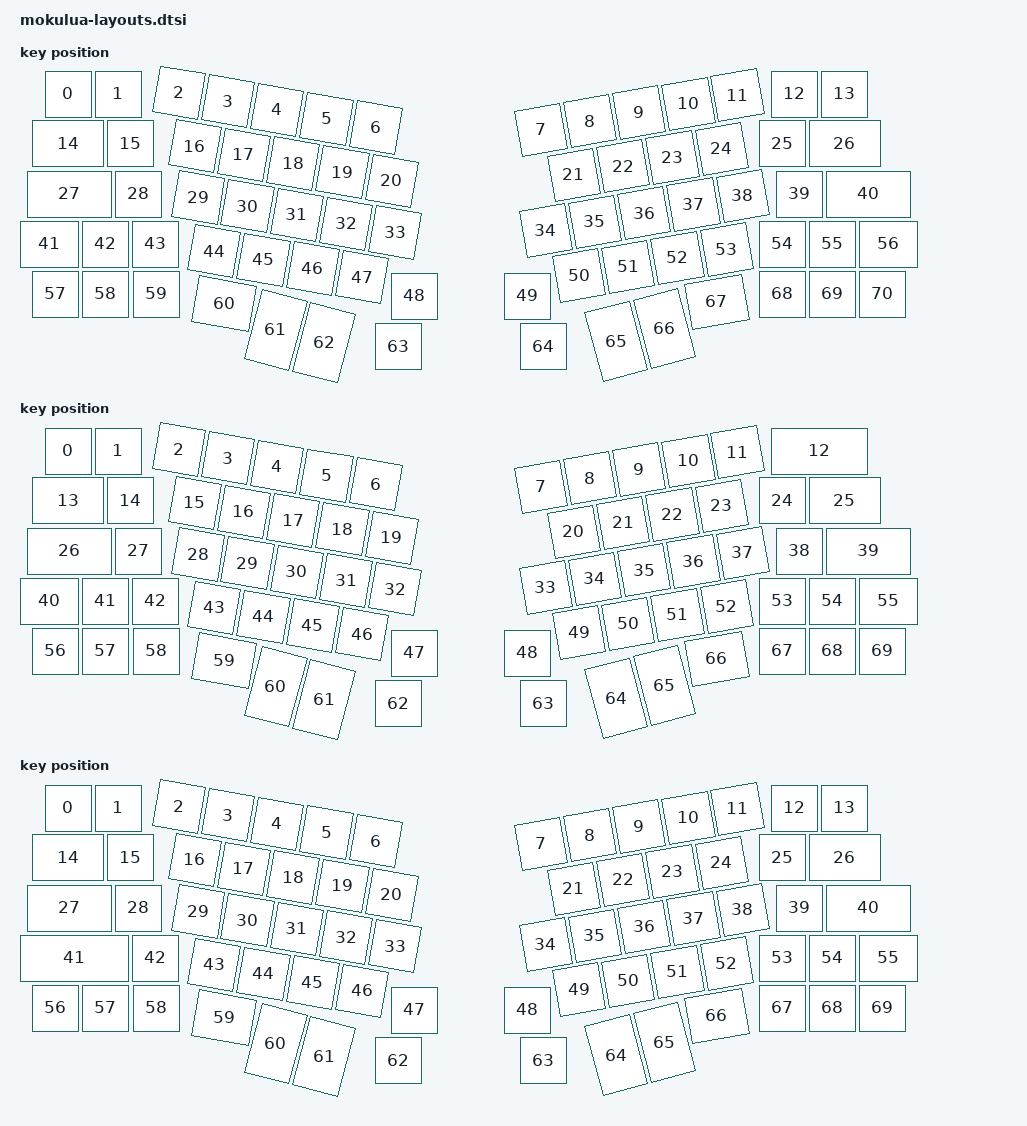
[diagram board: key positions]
/*
 * Copyright (c) 2023 The ZMK Contributors
 *
 * SPDX-License-Identifier: MIT
 */

#include <physical_layouts.dtsi>

/ {
    chosen {
        zmk,physical-layout = &standard_all_layout;
    };

    standard_all_layout: keymap_layout_0 {
        compatible = "zmk,physical-layout";
        display-name = "Standard - Split Backspace";

        transform = <&standard_all_transform>;

        keys  //                     w   h    x    y     rot   rx   ry
            = <&key_physical_attrs 100 100  322  105       0    0    0>
            , <&key_physical_attrs 100 100  422  105       0    0    0>
            , <&key_physical_attrs 100 100  500   50    1000  275  375>
            , <&key_physical_attrs 100 100  600   50    1000  275  375>
            , <&key_physical_attrs 100 100  700   50    1000  275  375>
            , <&key_physical_attrs 100 100  800   50    1000  275  375>
            , <&key_physical_attrs 100 100  900   50    1000  275  375>
            , <&key_physical_attrs 100 100 1300  200 (-1000) 1200  425>
            , <&key_physical_attrs 100 100 1400  200 (-1000) 1200  425>
            , <&key_physical_attrs 100 100 1500  200 (-1000) 1200  425>
            , <&key_physical_attrs 100 100 1600  200 (-1000) 1200  425>
            , <&key_physical_attrs 100 100 1700  200 (-1000) 1200  425>
            , <&key_physical_attrs 100 100 1775  105       0    0    0>
            , <&key_physical_attrs 100 100 1875  105       0    0    0>
            , <&key_physical_attrs 150 100  297  204       0    0    0>
            , <&key_physical_attrs 100 100  447  204       0    0    0>
            , <&key_physical_attrs 100 100  550  150    1000  275  375>
            , <&key_physical_attrs 100 100  650  150    1000  275  375>
            , <&key_physical_attrs 100 100  750  150    1000  275  375>
            , <&key_physical_attrs 100 100  850  150    1000  275  375>
            , <&key_physical_attrs 100 100  950  150    1000  275  375>
            , <&key_physical_attrs 100 100 1350  300 (-1000) 1200  425>
            , <&key_physical_attrs 100 100 1450  300 (-1000) 1200  425>
            , <&key_physical_attrs 100 100 1550  300 (-1000) 1200  425>
            , <&key_physical_attrs 100 100 1650  300 (-1000) 1200  425>
            , <&key_physical_attrs 100 100 1750  204       0    0    0>
            , <&key_physical_attrs 150 100 1850  204       0    0    0>
            , <&key_physical_attrs 175 100  287  305       0    0    0>
            , <&key_physical_attrs 100 100  462  305       0    0    0>
            , <&key_physical_attrs 100 100  575  250    1000  275  375>
            , <&key_physical_attrs 100 100  675  250    1000  275  375>
            , <&key_physical_attrs 100 100  775  250    1000  275  375>
            , <&key_physical_attrs 100 100  875  250    1000  275  375>
            , <&key_physical_attrs 100 100  975  250    1000  275  375>
            , <&key_physical_attrs 100 100 1275  400 (-1000) 1200  425>
            , <&key_physical_attrs 100 100 1375  400 (-1000) 1200  425>
            , <&key_physical_attrs 100 100 1475  400 (-1000) 1200  425>
            , <&key_physical_attrs 100 100 1575  400 (-1000) 1200  425>
            , <&key_physical_attrs 100 100 1675  400 (-1000) 1200  425>
            , <&key_physical_attrs 100 100 1785  305       0    0    0>
            , <&key_physical_attrs 175 100 1885  305       0    0    0>
            , <&key_physical_attrs 125 100  272  405       0    0    0>
            , <&key_physical_attrs 100 100  397  405       0    0    0>
            , <&key_physical_attrs 100 100  497  405       0    0    0>
            , <&key_physical_attrs 100 100  625  350    1000  275  375>
            , <&key_physical_attrs 100 100  725  350    1000  275  375>
            , <&key_physical_attrs 100 100  825  350    1000  275  375>
            , <&key_physical_attrs 100 100  925  350    1000  275  375>
            , <&key_physical_attrs 100 100 1015  509       0    0    0>
            , <&key_physical_attrs 100 100 1240  509       0    0    0>
            , <&key_physical_attrs 100 100 1325  500 (-1000) 1200  425>
            , <&key_physical_attrs 100 100 1425  500 (-1000) 1200  425>
            , <&key_physical_attrs 100 100 1525  500 (-1000) 1200  425>
            , <&key_physical_attrs 100 100 1625  500 (-1000) 1200  425>
            , <&key_physical_attrs 100 100 1750  405       0    0    0>
            , <&key_physical_attrs 100 100 1850  405       0    0    0>
            , <&key_physical_attrs 125 100 1950  405       0    0    0>
            , <&key_physical_attrs 100 100  297  505       0    0    0>
            , <&key_physical_attrs 100 100  397  505       0    0    0>
            , <&key_physical_attrs 100 100  498  505       0    0    0>
            , <&key_physical_attrs 125 100  650  450    1000  275  375>
            , <&key_physical_attrs 150 100   90  885 (-7500)  275  375>
            , <&key_physical_attrs 150 100   90  985 (-7500)  275  375>
            , <&key_physical_attrs 100 100  982  610       0    0    0>
            , <&key_physical_attrs 100 100 1273  610       0    0    0>
            , <&key_physical_attrs 150 100 1155  140    7500 1050  575>
            , <&key_physical_attrs 150 100 1155   40    7500 1050  575>
            , <&key_physical_attrs 125 100 1575  600 (-1000) 1200  425>
            , <&key_physical_attrs 100 100 1750  505       0    0    0>
            , <&key_physical_attrs 100 100 1850  505       0    0    0>
            , <&key_physical_attrs 100 100 1950  505       0    0    0>
            ;
    };

    standard_full_backspace_layout: keymap_layout_1 {
        compatible = "zmk,physical-layout";
        display-name = "Standard - Full Backspace";

        transform = <&standard_full_backspace_transform>;

        keys  //                     w   h    x    y     rot   rx   ry
            = <&key_physical_attrs 100 100  322  105       0    0    0>
            , <&key_physical_attrs 100 100  422  105       0    0    0>
            , <&key_physical_attrs 100 100  500   50    1000  275  375>
            , <&key_physical_attrs 100 100  600   50    1000  275  375>
            , <&key_physical_attrs 100 100  700   50    1000  275  375>
            , <&key_physical_attrs 100 100  800   50    1000  275  375>
            , <&key_physical_attrs 100 100  900   50    1000  275  375>
            , <&key_physical_attrs 100 100 1300  200 (-1000) 1200  425>
            , <&key_physical_attrs 100 100 1400  200 (-1000) 1200  425>
            , <&key_physical_attrs 100 100 1500  200 (-1000) 1200  425>
            , <&key_physical_attrs 100 100 1600  200 (-1000) 1200  425>
            , <&key_physical_attrs 100 100 1700  200 (-1000) 1200  425>
            , <&key_physical_attrs 200 100 1775  105       0    0    0>
            , <&key_physical_attrs 150 100  297  204       0    0    0>
            , <&key_physical_attrs 100 100  447  204       0    0    0>
            , <&key_physical_attrs 100 100  550  150    1000  275  375>
            , <&key_physical_attrs 100 100  650  150    1000  275  375>
            , <&key_physical_attrs 100 100  750  150    1000  275  375>
            , <&key_physical_attrs 100 100  850  150    1000  275  375>
            , <&key_physical_attrs 100 100  950  150    1000  275  375>
            , <&key_physical_attrs 100 100 1350  300 (-1000) 1200  425>
            , <&key_physical_attrs 100 100 1450  300 (-1000) 1200  425>
            , <&key_physical_attrs 100 100 1550  300 (-1000) 1200  425>
            , <&key_physical_attrs 100 100 1650  300 (-1000) 1200  425>
            , <&key_physical_attrs 100 100 1750  204       0    0    0>
            , <&key_physical_attrs 150 100 1850  204       0    0    0>
            , <&key_physical_attrs 175 100  287  305       0    0    0>
            , <&key_physical_attrs 100 100  462  305       0    0    0>
            , <&key_physical_attrs 100 100  575  250    1000  275  375>
            , <&key_physical_attrs 100 100  675  250    1000  275  375>
            , <&key_physical_attrs 100 100  775  250    1000  275  375>
            , <&key_physical_attrs 100 100  875  250    1000  275  375>
            , <&key_physical_attrs 100 100  975  250    1000  275  375>
            , <&key_physical_attrs 100 100 1275  400 (-1000) 1200  425>
            , <&key_physical_attrs 100 100 1375  400 (-1000) 1200  425>
            , <&key_physical_attrs 100 100 1475  400 (-1000) 1200  425>
            , <&key_physical_attrs 100 100 1575  400 (-1000) 1200  425>
            , <&key_physical_attrs 100 100 1675  400 (-1000) 1200  425>
            , <&key_physical_attrs 100 100 1785  305       0    0    0>
            , <&key_physical_attrs 175 100 1885  305       0    0    0>
            , <&key_physical_attrs 125 100  272  405       0    0    0>
            , <&key_physical_attrs 100 100  397  405       0    0    0>
            , <&key_physical_attrs 100 100  497  405       0    0    0>
            , <&key_physical_attrs 100 100  625  350    1000  275  375>
            , <&key_physical_attrs 100 100  725  350    1000  275  375>
            , <&key_physical_attrs 100 100  825  350    1000  275  375>
            , <&key_physical_attrs 100 100  925  350    1000  275  375>
            , <&key_physical_attrs 100 100 1015  509       0    0    0>
            , <&key_physical_attrs 100 100 1240  509       0    0    0>
            , <&key_physical_attrs 100 100 1325  500 (-1000) 1200  425>
            , <&key_physical_attrs 100 100 1425  500 (-1000) 1200  425>
            , <&key_physical_attrs 100 100 1525  500 (-1000) 1200  425>
            , <&key_physical_attrs 100 100 1625  500 (-1000) 1200  425>
            , <&key_physical_attrs 100 100 1750  405       0    0    0>
            , <&key_physical_attrs 100 100 1850  405       0    0    0>
            , <&key_physical_attrs 125 100 1950  405       0    0    0>
            , <&key_physical_attrs 100 100  297  505       0    0    0>
            , <&key_physical_attrs 100 100  397  505       0    0    0>
            , <&key_physical_attrs 100 100  498  505       0    0    0>
            , <&key_physical_attrs 125 100  650  450    1000  275  375>
            , <&key_physical_attrs 150 100   90  885 (-7500)  275  375>
            , <&key_physical_attrs 150 100   90  985 (-7500)  275  375>
            , <&key_physical_attrs 100 100  982  610       0    0    0>
            , <&key_physical_attrs 100 100 1273  610       0    0    0>
            , <&key_physical_attrs 150 100 1155  140    7500 1050  575>
            , <&key_physical_attrs 150 100 1155   40    7500 1050  575>
            , <&key_physical_attrs 125 100 1575  600 (-1000) 1200  425>
            , <&key_physical_attrs 100 100 1750  505       0    0    0>
            , <&key_physical_attrs 100 100 1850  505       0    0    0>
            , <&key_physical_attrs 100 100 1950  505       0    0    0>
            ;
    };

    standard_full_lshift_layout: keymap_layout_2 {
        compatible = "zmk,physical-layout";
        display-name = "Standard - Split Backspace/Full Left Shift";

        transform = <&standard_full_lshift_transform>;

        keys  //                     w   h    x    y     rot   rx   ry
            = <&key_physical_attrs 100 100  322  105       0    0    0>
            , <&key_physical_attrs 100 100  422  105       0    0    0>
            , <&key_physical_attrs 100 100  500   50    1000  275  375>
            , <&key_physical_attrs 100 100  600   50    1000  275  375>
            , <&key_physical_attrs 100 100  700   50    1000  275  375>
            , <&key_physical_attrs 100 100  800   50    1000  275  375>
            , <&key_physical_attrs 100 100  900   50    1000  275  375>
            , <&key_physical_attrs 100 100 1300  200 (-1000) 1200  425>
            , <&key_physical_attrs 100 100 1400  200 (-1000) 1200  425>
            , <&key_physical_attrs 100 100 1500  200 (-1000) 1200  425>
            , <&key_physical_attrs 100 100 1600  200 (-1000) 1200  425>
            , <&key_physical_attrs 100 100 1700  200 (-1000) 1200  425>
            , <&key_physical_attrs 100 100 1775  105       0    0    0>
            , <&key_physical_attrs 100 100 1875  105       0    0    0>
            , <&key_physical_attrs 150 100  297  204       0    0    0>
            , <&key_physical_attrs 100 100  447  204       0    0    0>
            , <&key_physical_attrs 100 100  550  150    1000  275  375>
            , <&key_physical_attrs 100 100  650  150    1000  275  375>
            , <&key_physical_attrs 100 100  750  150    1000  275  375>
            , <&key_physical_attrs 100 100  850  150    1000  275  375>
            , <&key_physical_attrs 100 100  950  150    1000  275  375>
            , <&key_physical_attrs 100 100 1350  300 (-1000) 1200  425>
            , <&key_physical_attrs 100 100 1450  300 (-1000) 1200  425>
            , <&key_physical_attrs 100 100 1550  300 (-1000) 1200  425>
            , <&key_physical_attrs 100 100 1650  300 (-1000) 1200  425>
            , <&key_physical_attrs 100 100 1750  204       0    0    0>
            , <&key_physical_attrs 150 100 1850  204       0    0    0>
            , <&key_physical_attrs 175 100  287  305       0    0    0>
            , <&key_physical_attrs 100 100  462  305       0    0    0>
            , <&key_physical_attrs 100 100  575  250    1000  275  375>
            , <&key_physical_attrs 100 100  675  250    1000  275  375>
            , <&key_physical_attrs 100 100  775  250    1000  275  375>
            , <&key_physical_attrs 100 100  875  250    1000  275  375>
            , <&key_physical_attrs 100 100  975  250    1000  275  375>
            , <&key_physical_attrs 100 100 1275  400 (-1000) 1200  425>
            , <&key_physical_attrs 100 100 1375  400 (-1000) 1200  425>
            , <&key_physical_attrs 100 100 1475  400 (-1000) 1200  425>
            , <&key_physical_attrs 100 100 1575  400 (-1000) 1200  425>
            , <&key_physical_attrs 100 100 1675  400 (-1000) 1200  425>
            , <&key_physical_attrs 100 100 1785  305       0    0    0>
            , <&key_physical_attrs 175 100 1885  305       0    0    0>
            , <&key_physical_attrs 225 100  272  405       0    0    0>
            , <&key_physical_attrs 100 100  497  405       0    0    0>
            , <&key_physical_attrs 100 100  625  350    1000  275  375>
            , <&key_physical_attrs 100 100  725  350    1000  275  375>
            , <&key_physical_attrs 100 100  825  350    1000  275  375>
            , <&key_physical_attrs 100 100  925  350    1000  275  375>
            , <&key_physical_attrs 100 100 1015  509       0    0    0>
            , <&key_physical_attrs 100 100 1240  509       0    0    0>
            , <&key_physical_attrs 100 100 1325  500 (-1000) 1200  425>
            , <&key_physical_attrs 100 100 1425  500 (-1000) 1200  425>
            , <&key_physical_attrs 100 100 1525  500 (-1000) 1200  425>
            , <&key_physical_attrs 100 100 1625  500 (-1000) 1200  425>
            , <&key_physical_attrs 100 100 1750  405       0    0    0>
            , <&key_physical_attrs 100 100 1850  405       0    0    0>
            , <&key_physical_attrs 125 100 1950  405       0    0    0>
            , <&key_physical_attrs 100 100  297  505       0    0    0>
            , <&key_physical_attrs 100 100  397  505       0    0    0>
            , <&key_physical_attrs 100 100  498  505       0    0    0>
            , <&key_physical_attrs 125 100  650  450    1000  275  375>
            , <&key_physical_attrs 150 100   90  885 (-7500)  275  375>
            , <&key_physical_attrs 150 100   90  985 (-7500)  275  375>
            , <&key_physical_attrs 100 100  982  610       0    0    0>
            , <&key_physical_attrs 100 100 1273  610       0    0    0>
            , <&key_physical_attrs 150 100 1155  140    7500 1050  575>
            , <&key_physical_attrs 150 100 1155   40    7500 1050  575>
            , <&key_physical_attrs 125 100 1575  600 (-1000) 1200  425>
            , <&key_physical_attrs 100 100 1750  505       0    0    0>
            , <&key_physical_attrs 100 100 1850  505       0    0    0>
            , <&key_physical_attrs 100 100 1950  505       0    0    0>
            ;
    };

    standard_full_rshift_layout: keymap_layout_3 {
        compatible = "zmk,physical-layout";
        display-name = "Standard - Split Backspace/Full Right Shift";

        transform = <&standard_full_rshift_transform>;

        keys  //                     w   h    x    y     rot   rx   ry
            = <&key_physical_attrs 100 100  322  105       0    0    0>
            , <&key_physical_attrs 100 100  422  105       0    0    0>
            , <&key_physical_attrs 100 100  500   50    1000  275  375>
            , <&key_physical_attrs 100 100  600   50    1000  275  375>
            , <&key_physical_attrs 100 100  700   50    1000  275  375>
            , <&key_physical_attrs 100 100  800   50    1000  275  375>
            , <&key_physical_attrs 100 100  900   50    1000  275  375>
            , <&key_physical_attrs 100 100 1300  200 (-1000) 1200  425>
            , <&key_physical_attrs 100 100 1400  200 (-1000) 1200  425>
            , <&key_physical_attrs 100 100 1500  200 (-1000) 1200  425>
            , <&key_physical_attrs 100 100 1600  200 (-1000) 1200  425>
            , <&key_physical_attrs 100 100 1700  200 (-1000) 1200  425>
            , <&key_physical_attrs 100 100 1775  105       0    0    0>
            , <&key_physical_attrs 100 100 1875  105       0    0    0>
            , <&key_physical_attrs 150 100  297  204       0    0    0>
            , <&key_physical_attrs 100 100  447  204       0    0    0>
            , <&key_physical_attrs 100 100  550  150    1000  275  375>
            , <&key_physical_attrs 100 100  650  150    1000  275  375>
            , <&key_physical_attrs 100 100  750  150    1000  275  375>
            , <&key_physical_attrs 100 100  850  150    1000  275  375>
            , <&key_physical_attrs 100 100  950  150    1000  275  375>
            , <&key_physical_attrs 100 100 1350  300 (-1000) 1200  425>
            , <&key_physical_attrs 100 100 1450  300 (-1000) 1200  425>
            , <&key_physical_attrs 100 100 1550  300 (-1000) 1200  425>
            , <&key_physical_attrs 100 100 1650  300 (-1000) 1200  425>
            , <&key_physical_attrs 100 100 1750  204       0    0    0>
            , <&key_physical_attrs 150 100 1850  204       0    0    0>
            , <&key_physical_attrs 175 100  287  305       0    0    0>
            , <&key_physical_attrs 100 100  462  305       0    0    0>
            , <&key_physical_attrs 100 100  575  250    1000  275  375>
            , <&key_physical_attrs 100 100  675  250    1000  275  375>
            , <&key_physical_attrs 100 100  775  250    1000  275  375>
            , <&key_physical_attrs 100 100  875  250    1000  275  375>
            , <&key_physical_attrs 100 100  975  250    1000  275  375>
            , <&key_physical_attrs 100 100 1275  400 (-1000) 1200  425>
            , <&key_physical_attrs 100 100 1375  400 (-1000) 1200  425>
            , <&key_physical_attrs 100 100 1475  400 (-1000) 1200  425>
            , <&key_physical_attrs 100 100 1575  400 (-1000) 1200  425>
            , <&key_physical_attrs 100 100 1675  400 (-1000) 1200  425>
            , <&key_physical_attrs 100 100 1785  305       0    0    0>
            , <&key_physical_attrs 175 100 1885  305       0    0    0>
            , <&key_physical_attrs 125 100  272  405       0    0    0>
            , <&key_physical_attrs 100 100  397  405       0    0    0>
            , <&key_physical_attrs 100 100  497  405       0    0    0>
            , <&key_physical_attrs 100 100  625  350    1000  275  375>
            , <&key_physical_attrs 100 100  725  350    1000  275  375>
            , <&key_physical_attrs 100 100  825  350    1000  275  375>
            , <&key_physical_attrs 100 100  925  350    1000  275  375>
            , <&key_physical_attrs 100 100 1015  509       0    0    0>
            , <&key_physical_attrs 100 100 1240  509       0    0    0>
            , <&key_physical_attrs 100 100 1325  500 (-1000) 1200  425>
            , <&key_physical_attrs 100 100 1425  500 (-1000) 1200  425>
            , <&key_physical_attrs 100 100 1525  500 (-1000) 1200  425>
            , <&key_physical_attrs 100 100 1625  500 (-1000) 1200  425>
            , <&key_physical_attrs 100 100 1750  405       0    0    0>
            , <&key_physical_attrs 225 100 1850  405       0    0    0>
            , <&key_physical_attrs 100 100  297  505       0    0    0>
            , <&key_physical_attrs 100 100  397  505       0    0    0>
            , <&key_physical_attrs 100 100  498  505       0    0    0>
            , <&key_physical_attrs 125 100  650  450    1000  275  375>
            , <&key_physical_attrs 150 100   90  885 (-7500)  275  375>
            , <&key_physical_attrs 150 100   90  985 (-7500)  275  375>
            , <&key_physical_attrs 100 100  982  610       0    0    0>
            , <&key_physical_attrs 100 100 1273  610       0    0    0>
            , <&key_physical_attrs 150 100 1155  140    7500 1050  575>
            , <&key_physical_attrs 150 100 1155   40    7500 1050  575>
            , <&key_physical_attrs 125 100 1575  600 (-1000) 1200  425>
            , <&key_physical_attrs 100 100 1750  505       0    0    0>
            , <&key_physical_attrs 100 100 1850  505       0    0    0>
            , <&key_physical_attrs 100 100 1950  505       0    0    0>
            ;
    };

    standard_full_backspace_full_lshift_layout: keymap_layout_4 {
        compatible = "zmk,physical-layout";
        display-name = "Standard - Full Backspace/Full Left Shift";

        transform = <&standard_full_backspace_full_lshift_transform>;

        keys  //                     w   h    x    y     rot   rx   ry
            = <&key_physical_attrs 100 100  322  105       0    0    0>
            , <&key_physical_attrs 100 100  422  105       0    0    0>
            , <&key_physical_attrs 100 100  500   50    1000  275  375>
            , <&key_physical_attrs 100 100  600   50    1000  275  375>
            , <&key_physical_attrs 100 100  700   50    1000  275  375>
            , <&key_physical_attrs 100 100  800   50    1000  275  375>
            , <&key_physical_attrs 100 100  900   50    1000  275  375>
            , <&key_physical_attrs 100 100 1300  200 (-1000) 1200  425>
            , <&key_physical_attrs 100 100 1400  200 (-1000) 1200  425>
            , <&key_physical_attrs 100 100 1500  200 (-1000) 1200  425>
            , <&key_physical_attrs 100 100 1600  200 (-1000) 1200  425>
            , <&key_physical_attrs 100 100 1700  200 (-1000) 1200  425>
            , <&key_physical_attrs 200 100 1775  105       0    0    0>
            , <&key_physical_attrs 150 100  297  204       0    0    0>
            , <&key_physical_attrs 100 100  447  204       0    0    0>
            , <&key_physical_attrs 100 100  550  150    1000  275  375>
            , <&key_physical_attrs 100 100  650  150    1000  275  375>
            , <&key_physical_attrs 100 100  750  150    1000  275  375>
            , <&key_physical_attrs 100 100  850  150    1000  275  375>
            , <&key_physical_attrs 100 100  950  150    1000  275  375>
            , <&key_physical_attrs 100 100 1350  300 (-1000) 1200  425>
            , <&key_physical_attrs 100 100 1450  300 (-1000) 1200  425>
            , <&key_physical_attrs 100 100 1550  300 (-1000) 1200  425>
            , <&key_physical_attrs 100 100 1650  300 (-1000) 1200  425>
            , <&key_physical_attrs 100 100 1750  204       0    0    0>
            , <&key_physical_attrs 150 100 1850  204       0    0    0>
            , <&key_physical_attrs 175 100  287  305       0    0    0>
            , <&key_physical_attrs 100 100  462  305       0    0    0>
            , <&key_physical_attrs 100 100  575  250    1000  275  375>
            , <&key_physical_attrs 100 100  675  250    1000  275  375>
            , <&key_physical_attrs 100 100  775  250    1000  275  375>
            , <&key_physical_attrs 100 100  875  250    1000  275  375>
            , <&key_physical_attrs 100 100  975  250    1000  275  375>
            , <&key_physical_attrs 100 100 1275  400 (-1000) 1200  425>
            , <&key_physical_attrs 100 100 1375  400 (-1000) 1200  425>
            , <&key_physical_attrs 100 100 1475  400 (-1000) 1200  425>
            , <&key_physical_attrs 100 100 1575  400 (-1000) 1200  425>
            , <&key_physical_attrs 100 100 1675  400 (-1000) 1200  425>
            , <&key_physical_attrs 100 100 1785  305       0    0    0>
            , <&key_physical_attrs 175 100 1885  305       0    0    0>
            , <&key_physical_attrs 225 100  272  405       0    0    0>
            , <&key_physical_attrs 100 100  497  405       0    0    0>
            , <&key_physical_attrs 100 100  625  350    1000  275  375>
            , <&key_physical_attrs 100 100  725  350    1000  275  375>
            , <&key_physical_attrs 100 100  825  350    1000  275  375>
            , <&key_physical_attrs 100 100  925  350    1000  275  375>
            , <&key_physical_attrs 100 100 1015  509       0    0    0>
            , <&key_physical_attrs 100 100 1240  509       0    0    0>
            , <&key_physical_attrs 100 100 1325  500 (-1000) 1200  425>
            , <&key_physical_attrs 100 100 1425  500 (-1000) 1200  425>
            , <&key_physical_attrs 100 100 1525  500 (-1000) 1200  425>
            , <&key_physical_attrs 100 100 1625  500 (-1000) 1200  425>
            , <&key_physical_attrs 100 100 1750  405       0    0    0>
            , <&key_physical_attrs 100 100 1850  405       0    0    0>
            , <&key_physical_attrs 125 100 1950  405       0    0    0>
            , <&key_physical_attrs 100 100  297  505       0    0    0>
            , <&key_physical_attrs 100 100  397  505       0    0    0>
            , <&key_physical_attrs 100 100  498  505       0    0    0>
            , <&key_physical_attrs 125 100  650  450    1000  275  375>
            , <&key_physical_attrs 150 100   90  885 (-7500)  275  375>
            , <&key_physical_attrs 150 100   90  985 (-7500)  275  375>
            , <&key_physical_attrs 100 100  982  610       0    0    0>
            , <&key_physical_attrs 100 100 1273  610       0    0    0>
            , <&key_physical_attrs 150 100 1155  140    7500 1050  575>
            , <&key_physical_attrs 150 100 1155   40    7500 1050  575>
            , <&key_physical_attrs 125 100 1575  600 (-1000) 1200  425>
            , <&key_physical_attrs 100 100 1750  505       0    0    0>
            , <&key_physical_attrs 100 100 1850  505       0    0    0>
            , <&key_physical_attrs 100 100 1950  505       0    0    0>
            ;
    };

    standard_full_backspace_full_rshift_layout: keymap_layout_5 {
        compatible = "zmk,physical-layout";
        display-name = "Standard - Full Backspace/Full Right Shift";

        transform = <&standard_full_backspace_full_rshift_transform>;

        keys  //                     w   h    x    y     rot   rx   ry
            = <&key_physical_attrs 100 100  322  105       0    0    0>
            , <&key_physical_attrs 100 100  422  105       0    0    0>
            , <&key_physical_attrs 100 100  500   50    1000  275  375>
            , <&key_physical_attrs 100 100  600   50    1000  275  375>
            , <&key_physical_attrs 100 100  700   50    1000  275  375>
            , <&key_physical_attrs 100 100  800   50    1000  275  375>
            , <&key_physical_attrs 100 100  900   50    1000  275  375>
            , <&key_physical_attrs 100 100 1300  200 (-1000) 1200  425>
            , <&key_physical_attrs 100 100 1400  200 (-1000) 1200  425>
            , <&key_physical_attrs 100 100 1500  200 (-1000) 1200  425>
            , <&key_physical_attrs 100 100 1600  200 (-1000) 1200  425>
            , <&key_physical_attrs 100 100 1700  200 (-1000) 1200  425>
            , <&key_physical_attrs 200 100 1775  105       0    0    0>
            , <&key_physical_attrs 150 100  297  204       0    0    0>
            , <&key_physical_attrs 100 100  447  204       0    0    0>
            , <&key_physical_attrs 100 100  550  150    1000  275  375>
            , <&key_physical_attrs 100 100  650  150    1000  275  375>
            , <&key_physical_attrs 100 100  750  150    1000  275  375>
            , <&key_physical_attrs 100 100  850  150    1000  275  375>
            , <&key_physical_attrs 100 100  950  150    1000  275  375>
            , <&key_physical_attrs 100 100 1350  300 (-1000) 1200  425>
            , <&key_physical_attrs 100 100 1450  300 (-1000) 1200  425>
            , <&key_physical_attrs 100 100 1550  300 (-1000) 1200  425>
            , <&key_physical_attrs 100 100 1650  300 (-1000) 1200  425>
            , <&key_physical_attrs 100 100 1750  204       0    0    0>
            , <&key_physical_attrs 150 100 1850  204       0    0    0>
            , <&key_physical_attrs 175 100  287  305       0    0    0>
            , <&key_physical_attrs 100 100  462  305       0    0    0>
            , <&key_physical_attrs 100 100  575  250    1000  275  375>
            , <&key_physical_attrs 100 100  675  250    1000  275  375>
            , <&key_physical_attrs 100 100  775  250    1000  275  375>
            , <&key_physical_attrs 100 100  875  250    1000  275  375>
            , <&key_physical_attrs 100 100  975  250    1000  275  375>
            , <&key_physical_attrs 100 100 1275  400 (-1000) 1200  425>
            , <&key_physical_attrs 100 100 1375  400 (-1000) 1200  425>
            , <&key_physical_attrs 100 100 1475  400 (-1000) 1200  425>
            , <&key_physical_attrs 100 100 1575  400 (-1000) 1200  425>
            , <&key_physical_attrs 100 100 1675  400 (-1000) 1200  425>
            , <&key_physical_attrs 100 100 1785  305       0    0    0>
            , <&key_physical_attrs 175 100 1885  305       0    0    0>
            , <&key_physical_attrs 125 100  272  405       0    0    0>
            , <&key_physical_attrs 100 100  397  405       0    0    0>
            , <&key_physical_attrs 100 100  497  405       0    0    0>
            , <&key_physical_attrs 100 100  625  350    1000  275  375>
            , <&key_physical_attrs 100 100  725  350    1000  275  375>
            , <&key_physical_attrs 100 100  825  350    1000  275  375>
            , <&key_physical_attrs 100 100  925  350    1000  275  375>
            , <&key_physical_attrs 100 100 1015  509       0    0    0>
            , <&key_physical_attrs 100 100 1240  509       0    0    0>
            , <&key_physical_attrs 100 100 1325  500 (-1000) 1200  425>
            , <&key_physical_attrs 100 100 1425  500 (-1000) 1200  425>
            , <&key_physical_attrs 100 100 1525  500 (-1000) 1200  425>
            , <&key_physical_attrs 100 100 1625  500 (-1000) 1200  425>
            , <&key_physical_attrs 100 100 1750  405       0    0    0>
            , <&key_physical_attrs 225 100 1850  405       0    0    0>
            , <&key_physical_attrs 100 100  297  505       0    0    0>
            , <&key_physical_attrs 100 100  397  505       0    0    0>
            , <&key_physical_attrs 100 100  498  505       0    0    0>
            , <&key_physical_attrs 125 100  650  450    1000  275  375>
            , <&key_physical_attrs 150 100   90  885 (-7500)  275  375>
            , <&key_physical_attrs 150 100   90  985 (-7500)  275  375>
            , <&key_physical_attrs 100 100  982  610       0    0    0>
            , <&key_physical_attrs 100 100 1273  610       0    0    0>
            , <&key_physical_attrs 150 100 1155  140    7500 1050  575>
            , <&key_physical_attrs 150 100 1155   40    7500 1050  575>
            , <&key_physical_attrs 125 100 1575  600 (-1000) 1200  425>
            , <&key_physical_attrs 100 100 1750  505       0    0    0>
            , <&key_physical_attrs 100 100 1850  505       0    0    0>
            , <&key_physical_attrs 100 100 1950  505       0    0    0>
            ;
    };

    standard_full_backspace_full_lshift_full_rshift_layout: keymap_layout_6 {
        compatible = "zmk,physical-layout";
        display-name = "Standard - Full Left Shift/Full Right Shift";

        transform = <&standard_full_backspace_full_lshift_full_rshift_transform>;

        keys  //                     w   h    x    y     rot   rx   ry
            = <&key_physical_attrs 100 100  322  105       0    0    0>
            , <&key_physical_attrs 100 100  422  105       0    0    0>
            , <&key_physical_attrs 100 100  500   50    1000  275  375>
            , <&key_physical_attrs 100 100  600   50    1000  275  375>
            , <&key_physical_attrs 100 100  700   50    1000  275  375>
            , <&key_physical_attrs 100 100  800   50    1000  275  375>
            , <&key_physical_attrs 100 100  900   50    1000  275  375>
            , <&key_physical_attrs 100 100 1300  200 (-1000) 1200  425>
            , <&key_physical_attrs 100 100 1400  200 (-1000) 1200  425>
            , <&key_physical_attrs 100 100 1500  200 (-1000) 1200  425>
            , <&key_physical_attrs 100 100 1600  200 (-1000) 1200  425>
            , <&key_physical_attrs 100 100 1700  200 (-1000) 1200  425>
            , <&key_physical_attrs 200 100 1775  105       0    0    0>
            , <&key_physical_attrs 150 100  297  204       0    0    0>
            , <&key_physical_attrs 100 100  447  204       0    0    0>
            , <&key_physical_attrs 100 100  550  150    1000  275  375>
            , <&key_physical_attrs 100 100  650  150    1000  275  375>
            , <&key_physical_attrs 100 100  750  150    1000  275  375>
            , <&key_physical_attrs 100 100  850  150    1000  275  375>
            , <&key_physical_attrs 100 100  950  150    1000  275  375>
            , <&key_physical_attrs 100 100 1350  300 (-1000) 1200  425>
            , <&key_physical_attrs 100 100 1450  300 (-1000) 1200  425>
            , <&key_physical_attrs 100 100 1550  300 (-1000) 1200  425>
            , <&key_physical_attrs 100 100 1650  300 (-1000) 1200  425>
            , <&key_physical_attrs 100 100 1750  204       0    0    0>
            , <&key_physical_attrs 150 100 1850  204       0    0    0>
            , <&key_physical_attrs 175 100  287  305       0    0    0>
            , <&key_physical_attrs 100 100  462  305       0    0    0>
            , <&key_physical_attrs 100 100  575  250    1000  275  375>
            , <&key_physical_attrs 100 100  675  250    1000  275  375>
            , <&key_physical_attrs 100 100  775  250    1000  275  375>
            , <&key_physical_attrs 100 100  875  250    1000  275  375>
            , <&key_physical_attrs 100 100  975  250    1000  275  375>
            , <&key_physical_attrs 100 100 1275  400 (-1000) 1200  425>
            , <&key_physical_attrs 100 100 1375  400 (-1000) 1200  425>
            , <&key_physical_attrs 100 100 1475  400 (-1000) 1200  425>
            , <&key_physical_attrs 100 100 1575  400 (-1000) 1200  425>
            , <&key_physical_attrs 100 100 1675  400 (-1000) 1200  425>
            , <&key_physical_attrs 100 100 1785  305       0    0    0>
            , <&key_physical_attrs 175 100 1885  305       0    0    0>
            , <&key_physical_attrs 225 100  272  405       0    0    0>
            , <&key_physical_attrs 100 100  497  405       0    0    0>
            , <&key_physical_attrs 100 100  625  350    1000  275  375>
            , <&key_physical_attrs 100 100  725  350    1000  275  375>
            , <&key_physical_attrs 100 100  825  350    1000  275  375>
            , <&key_physical_attrs 100 100  925  350    1000  275  375>
            , <&key_physical_attrs 100 100 1015  509       0    0    0>
            , <&key_physical_attrs 100 100 1240  509       0    0    0>
            , <&key_physical_attrs 100 100 1325  500 (-1000) 1200  425>
            , <&key_physical_attrs 100 100 1425  500 (-1000) 1200  425>
            , <&key_physical_attrs 100 100 1525  500 (-1000) 1200  425>
            , <&key_physical_attrs 100 100 1625  500 (-1000) 1200  425>
            , <&key_physical_attrs 100 100 1750  405       0    0    0>
            , <&key_physical_attrs 225 100 1850  405       0    0    0>
            , <&key_physical_attrs 100 100  297  505       0    0    0>
            , <&key_physical_attrs 100 100  397  505       0    0    0>
            , <&key_physical_attrs 100 100  498  505       0    0    0>
            , <&key_physical_attrs 125 100  650  450    1000  275  375>
            , <&key_physical_attrs 150 100   90  885 (-7500)  275  375>
            , <&key_physical_attrs 150 100   90  985 (-7500)  275  375>
            , <&key_physical_attrs 100 100  982  610       0    0    0>
            , <&key_physical_attrs 100 100 1273  610       0    0    0>
            , <&key_physical_attrs 150 100 1155  140    7500 1050  575>
            , <&key_physical_attrs 150 100 1155   40    7500 1050  575>
            , <&key_physical_attrs 125 100 1575  600 (-1000) 1200  425>
            , <&key_physical_attrs 100 100 1750  505       0    0    0>
            , <&key_physical_attrs 100 100 1850  505       0    0    0>
            , <&key_physical_attrs 100 100 1950  505       0    0    0>
            ;
    };

    mirrored_all_layout: keymap_layout_7 {
        compatible = "zmk,physical-layout";
        display-name = "Mirrored";

        transform = <&mirrored_all_transform>;

        keys  //                     w   h    x    y     rot   rx   ry
            = <&key_physical_attrs 100 100  322  105       0    0    0>
            , <&key_physical_attrs 100 100  422  105       0    0    0>
            , <&key_physical_attrs 100 100  500   50    1000  275  375>
            , <&key_physical_attrs 100 100  600   50    1000  275  375>
            , <&key_physical_attrs 100 100  700   50    1000  275  375>
            , <&key_physical_attrs 100 100  800   50    1000  275  375>
            , <&key_physical_attrs 100 100  900   50    1000  275  375>
            , <&key_physical_attrs 100 100 1355   50 (-1000) 2080  375>
            , <&key_physical_attrs 100 100 1455   50 (-1000) 2080  375>
            , <&key_physical_attrs 100 100 1555   50 (-1000) 2080  375>
            , <&key_physical_attrs 100 100 1655   50 (-1000) 2080  375>
            , <&key_physical_attrs 100 100 1755   50 (-1000) 2080  375>
            , <&key_physical_attrs 100 100 1832  105       0    0    0>
            , <&key_physical_attrs 100 100 1932  105       0    0    0>
            , <&key_physical_attrs 150 100  297  204       0    0    0>
            , <&key_physical_attrs 100 100  447  204       0    0    0>
            , <&key_physical_attrs 100 100  550  150    1000  275  375>
            , <&key_physical_attrs 100 100  650  150    1000  275  375>
            , <&key_physical_attrs 100 100  750  150    1000  275  375>
            , <&key_physical_attrs 100 100  850  150    1000  275  375>
            , <&key_physical_attrs 100 100  950  150    1000  275  375>
            , <&key_physical_attrs 100 100 1305  150 (-1000) 2080  375>
            , <&key_physical_attrs 100 100 1405  150 (-1000) 2080  375>
            , <&key_physical_attrs 100 100 1505  150 (-1000) 2080  375>
            , <&key_physical_attrs 100 100 1605  150 (-1000) 2080  375>
            , <&key_physical_attrs 100 100 1705  150 (-1000) 2080  375>
            , <&key_physical_attrs 100 100 1807  204       0    0    0>
            , <&key_physical_attrs 150 100 1907  204       0    0    0>
            , <&key_physical_attrs 175 100  287  305       0    0    0>
            , <&key_physical_attrs 100 100  462  305       0    0    0>
            , <&key_physical_attrs 100 100  575  250    1000  275  375>
            , <&key_physical_attrs 100 100  675  250    1000  275  375>
            , <&key_physical_attrs 100 100  775  250    1000  275  375>
            , <&key_physical_attrs 100 100  875  250    1000  275  375>
            , <&key_physical_attrs 100 100  975  250    1000  275  375>
            , <&key_physical_attrs 100 100 1280  250 (-1000) 2080  375>
            , <&key_physical_attrs 100 100 1380  250 (-1000) 2080  375>
            , <&key_physical_attrs 100 100 1480  250 (-1000) 2080  375>
            , <&key_physical_attrs 100 100 1580  250 (-1000) 2080  375>
            , <&key_physical_attrs 100 100 1680  250 (-1000) 2080  375>
            , <&key_physical_attrs 100 100 1793  305       0    0    0>
            , <&key_physical_attrs 175 100 1893  305       0    0    0>
            , <&key_physical_attrs 125 100  272  405       0    0    0>
            , <&key_physical_attrs 100 100  397  405       0    0    0>
            , <&key_physical_attrs 100 100  497  405       0    0    0>
            , <&key_physical_attrs 100 100  625  350    1000  275  375>
            , <&key_physical_attrs 100 100  725  350    1000  275  375>
            , <&key_physical_attrs 100 100  825  350    1000  275  375>
            , <&key_physical_attrs 100 100  925  350    1000  275  375>
            , <&key_physical_attrs 100 100 1015  509       0    0    0>
            , <&key_physical_attrs 100 100 1240  509       0    0    0>
            , <&key_physical_attrs 100 100 1330  350 (-1000) 2080  375>
            , <&key_physical_attrs 100 100 1430  350 (-1000) 2080  375>
            , <&key_physical_attrs 100 100 1530  350 (-1000) 2080  375>
            , <&key_physical_attrs 100 100 1630  350 (-1000) 2080  375>
            , <&key_physical_attrs 100 100 1757  405       0    0    0>
            , <&key_physical_attrs 100 100 1857  405       0    0    0>
            , <&key_physical_attrs 125 100 1957  405       0    0    0>
            , <&key_physical_attrs 100 100  297  505       0    0    0>
            , <&key_physical_attrs 100 100  397  505       0    0    0>
            , <&key_physical_attrs 100 100  498  505       0    0    0>
            , <&key_physical_attrs 125 100  650  450    1000  275  375>
            , <&key_physical_attrs 150 100   90  885 (-7500)  275  375>
            , <&key_physical_attrs 150 100   90  985 (-7500)  275  375>
            , <&key_physical_attrs 100 100  982  610       0    0    0>
            , <&key_physical_attrs 100 100 1273  610       0    0    0>
            , <&key_physical_attrs 150 100 1195  100    7500 1045  530>
            , <&key_physical_attrs 150 100 1195    0    7500 1045  530>
            , <&key_physical_attrs 125 100 1580  450 (-1000) 2080  375>
            , <&key_physical_attrs 100 100 1757  505       0    0    0>
            , <&key_physical_attrs 100 100 1857  505       0    0    0>
            , <&key_physical_attrs 100 100 1957  505       0    0    0>
            ;
    };

    mirrored_full_backspace_layout: keymap_layout_8 {
        compatible = "zmk,physical-layout";
        display-name = "Mirrored - Full Backspace";

        transform = <&mirrored_full_backspace_transform>;

        keys  //                     w   h    x    y     rot   rx   ry
            = <&key_physical_attrs 100 100  322  105       0    0    0>
            , <&key_physical_attrs 100 100  422  105       0    0    0>
            , <&key_physical_attrs 100 100  500   50    1000  275  375>
            , <&key_physical_attrs 100 100  600   50    1000  275  375>
            , <&key_physical_attrs 100 100  700   50    1000  275  375>
            , <&key_physical_attrs 100 100  800   50    1000  275  375>
            , <&key_physical_attrs 100 100  900   50    1000  275  375>
            , <&key_physical_attrs 100 100 1355   50 (-1000) 2080  375>
            , <&key_physical_attrs 100 100 1455   50 (-1000) 2080  375>
            , <&key_physical_attrs 100 100 1555   50 (-1000) 2080  375>
            , <&key_physical_attrs 100 100 1655   50 (-1000) 2080  375>
            , <&key_physical_attrs 100 100 1755   50 (-1000) 2080  375>
            , <&key_physical_attrs 200 100 1832  105       0    0    0>
            , <&key_physical_attrs 150 100  297  204       0    0    0>
            , <&key_physical_attrs 100 100  447  204       0    0    0>
            , <&key_physical_attrs 100 100  550  150    1000  275  375>
            , <&key_physical_attrs 100 100  650  150    1000  275  375>
            , <&key_physical_attrs 100 100  750  150    1000  275  375>
            , <&key_physical_attrs 100 100  850  150    1000  275  375>
            , <&key_physical_attrs 100 100  950  150    1000  275  375>
            , <&key_physical_attrs 100 100 1305  150 (-1000) 2080  375>
            , <&key_physical_attrs 100 100 1405  150 (-1000) 2080  375>
            , <&key_physical_attrs 100 100 1505  150 (-1000) 2080  375>
            , <&key_physical_attrs 100 100 1605  150 (-1000) 2080  375>
            , <&key_physical_attrs 100 100 1705  150 (-1000) 2080  375>
            , <&key_physical_attrs 100 100 1807  204       0    0    0>
            , <&key_physical_attrs 150 100 1907  204       0    0    0>
            , <&key_physical_attrs 175 100  287  305       0    0    0>
            , <&key_physical_attrs 100 100  462  305       0    0    0>
            , <&key_physical_attrs 100 100  575  250    1000  275  375>
            , <&key_physical_attrs 100 100  675  250    1000  275  375>
            , <&key_physical_attrs 100 100  775  250    1000  275  375>
            , <&key_physical_attrs 100 100  875  250    1000  275  375>
            , <&key_physical_attrs 100 100  975  250    1000  275  375>
            , <&key_physical_attrs 100 100 1280  250 (-1000) 2080  375>
            , <&key_physical_attrs 100 100 1380  250 (-1000) 2080  375>
            , <&key_physical_attrs 100 100 1480  250 (-1000) 2080  375>
            , <&key_physical_attrs 100 100 1580  250 (-1000) 2080  375>
            , <&key_physical_attrs 100 100 1680  250 (-1000) 2080  375>
            , <&key_physical_attrs 100 100 1793  305       0    0    0>
            , <&key_physical_attrs 175 100 1893  305       0    0    0>
            , <&key_physical_attrs 125 100  272  405       0    0    0>
            , <&key_physical_attrs 100 100  397  405       0    0    0>
            , <&key_physical_attrs 100 100  497  405       0    0    0>
            , <&key_physical_attrs 100 100  625  350    1000  275  375>
            , <&key_physical_attrs 100 100  725  350    1000  275  375>
            , <&key_physical_attrs 100 100  825  350    1000  275  375>
            , <&key_physical_attrs 100 100  925  350    1000  275  375>
            , <&key_physical_attrs 100 100 1015  509       0    0    0>
            , <&key_physical_attrs 100 100 1240  509       0    0    0>
            , <&key_physical_attrs 100 100 1330  350 (-1000) 2080  375>
            , <&key_physical_attrs 100 100 1430  350 (-1000) 2080  375>
            , <&key_physical_attrs 100 100 1530  350 (-1000) 2080  375>
            , <&key_physical_attrs 100 100 1630  350 (-1000) 2080  375>
            , <&key_physical_attrs 100 100 1757  405       0    0    0>
            , <&key_physical_attrs 100 100 1857  405       0    0    0>
            , <&key_physical_attrs 125 100 1957  405       0    0    0>
            , <&key_physical_attrs 100 100  297  505       0    0    0>
            , <&key_physical_attrs 100 100  397  505       0    0    0>
            , <&key_physical_attrs 100 100  498  505       0    0    0>
            , <&key_physical_attrs 125 100  650  450    1000  275  375>
            , <&key_physical_attrs 150 100   90  885 (-7500)  275  375>
            , <&key_physical_attrs 150 100   90  985 (-7500)  275  375>
            , <&key_physical_attrs 100 100  982  610       0    0    0>
            , <&key_physical_attrs 100 100 1273  610       0    0    0>
            , <&key_physical_attrs 150 100 1195  100    7500 1045  530>
            , <&key_physical_attrs 150 100 1195    0    7500 1045  530>
            , <&key_physical_attrs 125 100 1580  450 (-1000) 2080  375>
            , <&key_physical_attrs 100 100 1757  505       0    0    0>
            , <&key_physical_attrs 100 100 1857  505       0    0    0>
            , <&key_physical_attrs 100 100 1957  505       0    0    0>
            ;
    };

    mirrored_full_lshift_layout: keymap_layout_9 {
        compatible = "zmk,physical-layout";
        display-name = "Mirrored - Full Left Shift";

        transform = <&mirrored_full_lshift_transform>;

        keys  //                     w   h    x    y     rot   rx   ry
            = <&key_physical_attrs 100 100  322  105       0    0    0>
            , <&key_physical_attrs 100 100  422  105       0    0    0>
            , <&key_physical_attrs 100 100  500   50    1000  275  375>
            , <&key_physical_attrs 100 100  600   50    1000  275  375>
            , <&key_physical_attrs 100 100  700   50    1000  275  375>
            , <&key_physical_attrs 100 100  800   50    1000  275  375>
            , <&key_physical_attrs 100 100  900   50    1000  275  375>
            , <&key_physical_attrs 100 100 1355   50 (-1000) 2080  375>
            , <&key_physical_attrs 100 100 1455   50 (-1000) 2080  375>
            , <&key_physical_attrs 100 100 1555   50 (-1000) 2080  375>
            , <&key_physical_attrs 100 100 1655   50 (-1000) 2080  375>
            , <&key_physical_attrs 100 100 1755   50 (-1000) 2080  375>
            , <&key_physical_attrs 100 100 1832  105       0    0    0>
            , <&key_physical_attrs 100 100 1932  105       0    0    0>
            , <&key_physical_attrs 150 100  297  204       0    0    0>
            , <&key_physical_attrs 100 100  447  204       0    0    0>
            , <&key_physical_attrs 100 100  550  150    1000  275  375>
            , <&key_physical_attrs 100 100  650  150    1000  275  375>
            , <&key_physical_attrs 100 100  750  150    1000  275  375>
            , <&key_physical_attrs 100 100  850  150    1000  275  375>
            , <&key_physical_attrs 100 100  950  150    1000  275  375>
            , <&key_physical_attrs 100 100 1305  150 (-1000) 2080  375>
            , <&key_physical_attrs 100 100 1405  150 (-1000) 2080  375>
            , <&key_physical_attrs 100 100 1505  150 (-1000) 2080  375>
            , <&key_physical_attrs 100 100 1605  150 (-1000) 2080  375>
            , <&key_physical_attrs 100 100 1705  150 (-1000) 2080  375>
            , <&key_physical_attrs 100 100 1807  204       0    0    0>
            , <&key_physical_attrs 150 100 1907  204       0    0    0>
            , <&key_physical_attrs 175 100  287  305       0    0    0>
            , <&key_physical_attrs 100 100  462  305       0    0    0>
            , <&key_physical_attrs 100 100  575  250    1000  275  375>
            , <&key_physical_attrs 100 100  675  250    1000  275  375>
            , <&key_physical_attrs 100 100  775  250    1000  275  375>
            , <&key_physical_attrs 100 100  875  250    1000  275  375>
            , <&key_physical_attrs 100 100  975  250    1000  275  375>
            , <&key_physical_attrs 100 100 1280  250 (-1000) 2080  375>
            , <&key_physical_attrs 100 100 1380  250 (-1000) 2080  375>
            , <&key_physical_attrs 100 100 1480  250 (-1000) 2080  375>
            , <&key_physical_attrs 100 100 1580  250 (-1000) 2080  375>
            , <&key_physical_attrs 100 100 1680  250 (-1000) 2080  375>
            , <&key_physical_attrs 100 100 1793  305       0    0    0>
            , <&key_physical_attrs 175 100 1893  305       0    0    0>
            , <&key_physical_attrs 225 100  272  405       0    0    0>
            , <&key_physical_attrs 100 100  497  405       0    0    0>
            , <&key_physical_attrs 100 100  625  350    1000  275  375>
            , <&key_physical_attrs 100 100  725  350    1000  275  375>
            , <&key_physical_attrs 100 100  825  350    1000  275  375>
            , <&key_physical_attrs 100 100  925  350    1000  275  375>
            , <&key_physical_attrs 100 100 1015  509       0    0    0>
            , <&key_physical_attrs 100 100 1240  509       0    0    0>
            , <&key_physical_attrs 100 100 1330  350 (-1000) 2080  375>
            , <&key_physical_attrs 100 100 1430  350 (-1000) 2080  375>
            , <&key_physical_attrs 100 100 1530  350 (-1000) 2080  375>
            , <&key_physical_attrs 100 100 1630  350 (-1000) 2080  375>
            , <&key_physical_attrs 100 100 1757  405       0    0    0>
            , <&key_physical_attrs 100 100 1857  405       0    0    0>
            , <&key_physical_attrs 125 100 1957  405       0    0    0>
            , <&key_physical_attrs 100 100  297  505       0    0    0>
            , <&key_physical_attrs 100 100  397  505       0    0    0>
            , <&key_physical_attrs 100 100  498  505       0    0    0>
            , <&key_physical_attrs 125 100  650  450    1000  275  375>
            , <&key_physical_attrs 150 100   90  885 (-7500)  275  375>
            , <&key_physical_attrs 150 100   90  985 (-7500)  275  375>
            , <&key_physical_attrs 100 100  982  610       0    0    0>
            , <&key_physical_attrs 100 100 1273  610       0    0    0>
            , <&key_physical_attrs 150 100 1195  100    7500 1045  530>
            , <&key_physical_attrs 150 100 1195    0    7500 1045  530>
            , <&key_physical_attrs 125 100 1580  450 (-1000) 2080  375>
            , <&key_physical_attrs 100 100 1757  505       0    0    0>
            , <&key_physical_attrs 100 100 1857  505       0    0    0>
            , <&key_physical_attrs 100 100 1957  505       0    0    0>
            ;
    };

    mirrored_full_rshift_layout: keymap_layout_10 {
        compatible = "zmk,physical-layout";
        display-name = "Mirrored - Full Right Shift";

        transform = <&mirrored_full_rshift_transform>;

        keys  //                     w   h    x    y     rot   rx   ry
            = <&key_physical_attrs 100 100  322  105       0    0    0>
            , <&key_physical_attrs 100 100  422  105       0    0    0>
            , <&key_physical_attrs 100 100  500   50    1000  275  375>
            , <&key_physical_attrs 100 100  600   50    1000  275  375>
            , <&key_physical_attrs 100 100  700   50    1000  275  375>
            , <&key_physical_attrs 100 100  800   50    1000  275  375>
            , <&key_physical_attrs 100 100  900   50    1000  275  375>
            , <&key_physical_attrs 100 100 1355   50 (-1000) 2080  375>
            , <&key_physical_attrs 100 100 1455   50 (-1000) 2080  375>
            , <&key_physical_attrs 100 100 1555   50 (-1000) 2080  375>
            , <&key_physical_attrs 100 100 1655   50 (-1000) 2080  375>
            , <&key_physical_attrs 100 100 1755   50 (-1000) 2080  375>
            , <&key_physical_attrs 100 100 1832  105       0    0    0>
            , <&key_physical_attrs 100 100 1932  105       0    0    0>
            , <&key_physical_attrs 150 100  297  204       0    0    0>
            , <&key_physical_attrs 100 100  447  204       0    0    0>
            , <&key_physical_attrs 100 100  550  150    1000  275  375>
            , <&key_physical_attrs 100 100  650  150    1000  275  375>
            , <&key_physical_attrs 100 100  750  150    1000  275  375>
            , <&key_physical_attrs 100 100  850  150    1000  275  375>
            , <&key_physical_attrs 100 100  950  150    1000  275  375>
            , <&key_physical_attrs 100 100 1305  150 (-1000) 2080  375>
            , <&key_physical_attrs 100 100 1405  150 (-1000) 2080  375>
            , <&key_physical_attrs 100 100 1505  150 (-1000) 2080  375>
            , <&key_physical_attrs 100 100 1605  150 (-1000) 2080  375>
            , <&key_physical_attrs 100 100 1705  150 (-1000) 2080  375>
            , <&key_physical_attrs 100 100 1807  204       0    0    0>
            , <&key_physical_attrs 150 100 1907  204       0    0    0>
            , <&key_physical_attrs 175 100  287  305       0    0    0>
            , <&key_physical_attrs 100 100  462  305       0    0    0>
            , <&key_physical_attrs 100 100  575  250    1000  275  375>
            , <&key_physical_attrs 100 100  675  250    1000  275  375>
            , <&key_physical_attrs 100 100  775  250    1000  275  375>
            , <&key_physical_attrs 100 100  875  250    1000  275  375>
            , <&key_physical_attrs 100 100  975  250    1000  275  375>
            , <&key_physical_attrs 100 100 1280  250 (-1000) 2080  375>
            , <&key_physical_attrs 100 100 1380  250 (-1000) 2080  375>
            , <&key_physical_attrs 100 100 1480  250 (-1000) 2080  375>
            , <&key_physical_attrs 100 100 1580  250 (-1000) 2080  375>
            , <&key_physical_attrs 100 100 1680  250 (-1000) 2080  375>
            , <&key_physical_attrs 100 100 1793  305       0    0    0>
            , <&key_physical_attrs 175 100 1893  305       0    0    0>
            , <&key_physical_attrs 125 100  272  405       0    0    0>
            , <&key_physical_attrs 100 100  397  405       0    0    0>
            , <&key_physical_attrs 100 100  497  405       0    0    0>
            , <&key_physical_attrs 100 100  625  350    1000  275  375>
            , <&key_physical_attrs 100 100  725  350    1000  275  375>
            , <&key_physical_attrs 100 100  825  350    1000  275  375>
            , <&key_physical_attrs 100 100  925  350    1000  275  375>
            , <&key_physical_attrs 100 100 1015  509       0    0    0>
            , <&key_physical_attrs 100 100 1240  509       0    0    0>
            , <&key_physical_attrs 100 100 1330  350 (-1000) 2080  375>
            , <&key_physical_attrs 100 100 1430  350 (-1000) 2080  375>
            , <&key_physical_attrs 100 100 1530  350 (-1000) 2080  375>
            , <&key_physical_attrs 100 100 1630  350 (-1000) 2080  375>
            , <&key_physical_attrs 100 100 1757  405       0    0    0>
            , <&key_physical_attrs 225 100 1857  405       0    0    0>
            , <&key_physical_attrs 100 100  297  505       0    0    0>
            , <&key_physical_attrs 100 100  397  505       0    0    0>
            , <&key_physical_attrs 100 100  498  505       0    0    0>
            , <&key_physical_attrs 125 100  650  450    1000  275  375>
            , <&key_physical_attrs 150 100   90  885 (-7500)  275  375>
            , <&key_physical_attrs 150 100   90  985 (-7500)  275  375>
            , <&key_physical_attrs 100 100  982  610       0    0    0>
            , <&key_physical_attrs 100 100 1273  610       0    0    0>
            , <&key_physical_attrs 150 100 1195  100    7500 1045  530>
            , <&key_physical_attrs 150 100 1195    0    7500 1045  530>
            , <&key_physical_attrs 125 100 1580  450 (-1000) 2080  375>
            , <&key_physical_attrs 100 100 1757  505       0    0    0>
            , <&key_physical_attrs 100 100 1857  505       0    0    0>
            , <&key_physical_attrs 100 100 1957  505       0    0    0>
            ;
    };

    mirrored_full_backspace_full_lshift_layout: keymap_layout_11 {
        compatible = "zmk,physical-layout";
        display-name = "Mirrored - Full Backspace/Full Left Shift";

        transform = <&mirrored_full_backspace_full_lshift_transform>;

        keys  //                     w   h    x    y     rot   rx   ry
            = <&key_physical_attrs 100 100  322  105       0    0    0>
            , <&key_physical_attrs 100 100  422  105       0    0    0>
            , <&key_physical_attrs 100 100  500   50    1000  275  375>
            , <&key_physical_attrs 100 100  600   50    1000  275  375>
            , <&key_physical_attrs 100 100  700   50    1000  275  375>
            , <&key_physical_attrs 100 100  800   50    1000  275  375>
            , <&key_physical_attrs 100 100  900   50    1000  275  375>
            , <&key_physical_attrs 100 100 1355   50 (-1000) 2080  375>
            , <&key_physical_attrs 100 100 1455   50 (-1000) 2080  375>
            , <&key_physical_attrs 100 100 1555   50 (-1000) 2080  375>
            , <&key_physical_attrs 100 100 1655   50 (-1000) 2080  375>
            , <&key_physical_attrs 100 100 1755   50 (-1000) 2080  375>
            , <&key_physical_attrs 200 100 1832  105       0    0    0>
            , <&key_physical_attrs 150 100  297  204       0    0    0>
            , <&key_physical_attrs 100 100  447  204       0    0    0>
            , <&key_physical_attrs 100 100  550  150    1000  275  375>
            , <&key_physical_attrs 100 100  650  150    1000  275  375>
            , <&key_physical_attrs 100 100  750  150    1000  275  375>
            , <&key_physical_attrs 100 100  850  150    1000  275  375>
            , <&key_physical_attrs 100 100  950  150    1000  275  375>
            , <&key_physical_attrs 100 100 1305  150 (-1000) 2080  375>
            , <&key_physical_attrs 100 100 1405  150 (-1000) 2080  375>
            , <&key_physical_attrs 100 100 1505  150 (-1000) 2080  375>
            , <&key_physical_attrs 100 100 1605  150 (-1000) 2080  375>
            , <&key_physical_attrs 100 100 1705  150 (-1000) 2080  375>
            , <&key_physical_attrs 100 100 1807  204       0    0    0>
            , <&key_physical_attrs 150 100 1907  204       0    0    0>
            , <&key_physical_attrs 175 100  287  305       0    0    0>
            , <&key_physical_attrs 100 100  462  305       0    0    0>
            , <&key_physical_attrs 100 100  575  250    1000  275  375>
            , <&key_physical_attrs 100 100  675  250    1000  275  375>
            , <&key_physical_attrs 100 100  775  250    1000  275  375>
            , <&key_physical_attrs 100 100  875  250    1000  275  375>
            , <&key_physical_attrs 100 100  975  250    1000  275  375>
            , <&key_physical_attrs 100 100 1280  250 (-1000) 2080  375>
            , <&key_physical_attrs 100 100 1380  250 (-1000) 2080  375>
            , <&key_physical_attrs 100 100 1480  250 (-1000) 2080  375>
            , <&key_physical_attrs 100 100 1580  250 (-1000) 2080  375>
            , <&key_physical_attrs 100 100 1680  250 (-1000) 2080  375>
            , <&key_physical_attrs 100 100 1793  305       0    0    0>
            , <&key_physical_attrs 175 100 1893  305       0    0    0>
            , <&key_physical_attrs 225 100  272  405       0    0    0>
            , <&key_physical_attrs 100 100  497  405       0    0    0>
            , <&key_physical_attrs 100 100  625  350    1000  275  375>
            , <&key_physical_attrs 100 100  725  350    1000  275  375>
            , <&key_physical_attrs 100 100  825  350    1000  275  375>
            , <&key_physical_attrs 100 100  925  350    1000  275  375>
            , <&key_physical_attrs 100 100 1015  509       0    0    0>
            , <&key_physical_attrs 100 100 1240  509       0    0    0>
            , <&key_physical_attrs 100 100 1330  350 (-1000) 2080  375>
            , <&key_physical_attrs 100 100 1430  350 (-1000) 2080  375>
            , <&key_physical_attrs 100 100 1530  350 (-1000) 2080  375>
            , <&key_physical_attrs 100 100 1630  350 (-1000) 2080  375>
            , <&key_physical_attrs 100 100 1757  405       0    0    0>
            , <&key_physical_attrs 100 100 1857  405       0    0    0>
            , <&key_physical_attrs 125 100 1957  405       0    0    0>
            , <&key_physical_attrs 100 100  297  505       0    0    0>
            , <&key_physical_attrs 100 100  397  505       0    0    0>
            , <&key_physical_attrs 100 100  498  505       0    0    0>
            , <&key_physical_attrs 125 100  650  450    1000  275  375>
            , <&key_physical_attrs 150 100   90  885 (-7500)  275  375>
            , <&key_physical_attrs 150 100   90  985 (-7500)  275  375>
            , <&key_physical_attrs 100 100  982  610       0    0    0>
            , <&key_physical_attrs 100 100 1273  610       0    0    0>
            , <&key_physical_attrs 150 100 1195  100    7500 1045  530>
            , <&key_physical_attrs 150 100 1195    0    7500 1045  530>
            , <&key_physical_attrs 125 100 1580  450 (-1000) 2080  375>
            , <&key_physical_attrs 100 100 1757  505       0    0    0>
            , <&key_physical_attrs 100 100 1857  505       0    0    0>
            , <&key_physical_attrs 100 100 1957  505       0    0    0>
            ;
    };

    mirrored_full_backspace_full_rshift_layout: keymap_layout_12 {
        compatible = "zmk,physical-layout";
        display-name = "Mirrored - Full Backspace/Full Right Shift";

        transform = <&mirrored_full_backspace_full_rshift_transform>;

        keys  //                     w   h    x    y     rot   rx   ry
            = <&key_physical_attrs 100 100  322  105       0    0    0>
            , <&key_physical_attrs 100 100  422  105       0    0    0>
            , <&key_physical_attrs 100 100  500   50    1000  275  375>
            , <&key_physical_attrs 100 100  600   50    1000  275  375>
            , <&key_physical_attrs 100 100  700   50    1000  275  375>
            , <&key_physical_attrs 100 100  800   50    1000  275  375>
            , <&key_physical_attrs 100 100  900   50    1000  275  375>
            , <&key_physical_attrs 100 100 1355   50 (-1000) 2080  375>
            , <&key_physical_attrs 100 100 1455   50 (-1000) 2080  375>
            , <&key_physical_attrs 100 100 1555   50 (-1000) 2080  375>
            , <&key_physical_attrs 100 100 1655   50 (-1000) 2080  375>
            , <&key_physical_attrs 100 100 1755   50 (-1000) 2080  375>
            , <&key_physical_attrs 200 100 1832  105       0    0    0>
            , <&key_physical_attrs 150 100  297  204       0    0    0>
            , <&key_physical_attrs 100 100  447  204       0    0    0>
            , <&key_physical_attrs 100 100  550  150    1000  275  375>
            , <&key_physical_attrs 100 100  650  150    1000  275  375>
            , <&key_physical_attrs 100 100  750  150    1000  275  375>
            , <&key_physical_attrs 100 100  850  150    1000  275  375>
            , <&key_physical_attrs 100 100  950  150    1000  275  375>
            , <&key_physical_attrs 100 100 1305  150 (-1000) 2080  375>
            , <&key_physical_attrs 100 100 1405  150 (-1000) 2080  375>
            , <&key_physical_attrs 100 100 1505  150 (-1000) 2080  375>
            , <&key_physical_attrs 100 100 1605  150 (-1000) 2080  375>
            , <&key_physical_attrs 100 100 1705  150 (-1000) 2080  375>
            , <&key_physical_attrs 100 100 1807  204       0    0    0>
            , <&key_physical_attrs 150 100 1907  204       0    0    0>
            , <&key_physical_attrs 175 100  287  305       0    0    0>
            , <&key_physical_attrs 100 100  462  305       0    0    0>
            , <&key_physical_attrs 100 100  575  250    1000  275  375>
            , <&key_physical_attrs 100 100  675  250    1000  275  375>
            , <&key_physical_attrs 100 100  775  250    1000  275  375>
            , <&key_physical_attrs 100 100  875  250    1000  275  375>
            , <&key_physical_attrs 100 100  975  250    1000  275  375>
            , <&key_physical_attrs 100 100 1280  250 (-1000) 2080  375>
            , <&key_physical_attrs 100 100 1380  250 (-1000) 2080  375>
            , <&key_physical_attrs 100 100 1480  250 (-1000) 2080  375>
            , <&key_physical_attrs 100 100 1580  250 (-1000) 2080  375>
            , <&key_physical_attrs 100 100 1680  250 (-1000) 2080  375>
            , <&key_physical_attrs 100 100 1793  305       0    0    0>
            , <&key_physical_attrs 175 100 1893  305       0    0    0>
            , <&key_physical_attrs 125 100  272  405       0    0    0>
            , <&key_physical_attrs 100 100  397  405       0    0    0>
            , <&key_physical_attrs 100 100  497  405       0    0    0>
            , <&key_physical_attrs 100 100  625  350    1000  275  375>
            , <&key_physical_attrs 100 100  725  350    1000  275  375>
            , <&key_physical_attrs 100 100  825  350    1000  275  375>
            , <&key_physical_attrs 100 100  925  350    1000  275  375>
            , <&key_physical_attrs 100 100 1015  509       0    0    0>
            , <&key_physical_attrs 100 100 1240  509       0    0    0>
            , <&key_physical_attrs 100 100 1330  350 (-1000) 2080  375>
            , <&key_physical_attrs 100 100 1430  350 (-1000) 2080  375>
            , <&key_physical_attrs 100 100 1530  350 (-1000) 2080  375>
            , <&key_physical_attrs 100 100 1630  350 (-1000) 2080  375>
            , <&key_physical_attrs 100 100 1757  405       0    0    0>
            , <&key_physical_attrs 225 100 1857  405       0    0    0>
            , <&key_physical_attrs 100 100  297  505       0    0    0>
            , <&key_physical_attrs 100 100  397  505       0    0    0>
            , <&key_physical_attrs 100 100  498  505       0    0    0>
            , <&key_physical_attrs 125 100  650  450    1000  275  375>
            , <&key_physical_attrs 150 100   90  885 (-7500)  275  375>
            , <&key_physical_attrs 150 100   90  985 (-7500)  275  375>
            , <&key_physical_attrs 100 100  982  610       0    0    0>
            , <&key_physical_attrs 100 100 1273  610       0    0    0>
            , <&key_physical_attrs 150 100 1195  100    7500 1045  530>
            , <&key_physical_attrs 150 100 1195    0    7500 1045  530>
            , <&key_physical_attrs 125 100 1580  450 (-1000) 2080  375>
            , <&key_physical_attrs 100 100 1757  505       0    0    0>
            , <&key_physical_attrs 100 100 1857  505       0    0    0>
            , <&key_physical_attrs 100 100 1957  505       0    0    0>
            ;
    };

    mirrored_full_backspace_full_lshift_full_rshift_layout: keymap_layout_13 {
        compatible = "zmk,physical-layout";
        display-name = "Mirrored - Full Backspace/Full Left Shift/Full Right Shift";

        transform = <&mirrored_full_backspace_full_lshift_full_rshift_transform>;

        keys  //                     w   h    x    y     rot   rx   ry
            = <&key_physical_attrs 100 100  322  105       0    0    0>
            , <&key_physical_attrs 100 100  422  105       0    0    0>
            , <&key_physical_attrs 100 100  500   50    1000  275  375>
            , <&key_physical_attrs 100 100  600   50    1000  275  375>
            , <&key_physical_attrs 100 100  700   50    1000  275  375>
            , <&key_physical_attrs 100 100  800   50    1000  275  375>
            , <&key_physical_attrs 100 100  900   50    1000  275  375>
            , <&key_physical_attrs 100 100 1355   50 (-1000) 2080  375>
            , <&key_physical_attrs 100 100 1455   50 (-1000) 2080  375>
            , <&key_physical_attrs 100 100 1555   50 (-1000) 2080  375>
            , <&key_physical_attrs 100 100 1655   50 (-1000) 2080  375>
            , <&key_physical_attrs 100 100 1755   50 (-1000) 2080  375>
            , <&key_physical_attrs 200 100 1832  105       0    0    0>
            , <&key_physical_attrs 150 100  297  204       0    0    0>
            , <&key_physical_attrs 100 100  447  204       0    0    0>
            , <&key_physical_attrs 100 100  550  150    1000  275  375>
            , <&key_physical_attrs 100 100  650  150    1000  275  375>
            , <&key_physical_attrs 100 100  750  150    1000  275  375>
            , <&key_physical_attrs 100 100  850  150    1000  275  375>
            , <&key_physical_attrs 100 100  950  150    1000  275  375>
            , <&key_physical_attrs 100 100 1305  150 (-1000) 2080  375>
            , <&key_physical_attrs 100 100 1405  150 (-1000) 2080  375>
            , <&key_physical_attrs 100 100 1505  150 (-1000) 2080  375>
            , <&key_physical_attrs 100 100 1605  150 (-1000) 2080  375>
            , <&key_physical_attrs 100 100 1705  150 (-1000) 2080  375>
            , <&key_physical_attrs 100 100 1807  204       0    0    0>
            , <&key_physical_attrs 150 100 1907  204       0    0    0>
            , <&key_physical_attrs 175 100  287  305       0    0    0>
            , <&key_physical_attrs 100 100  462  305       0    0    0>
            , <&key_physical_attrs 100 100  575  250    1000  275  375>
            , <&key_physical_attrs 100 100  675  250    1000  275  375>
            , <&key_physical_attrs 100 100  775  250    1000  275  375>
            , <&key_physical_attrs 100 100  875  250    1000  275  375>
            , <&key_physical_attrs 100 100  975  250    1000  275  375>
            , <&key_physical_attrs 100 100 1280  250 (-1000) 2080  375>
            , <&key_physical_attrs 100 100 1380  250 (-1000) 2080  375>
            , <&key_physical_attrs 100 100 1480  250 (-1000) 2080  375>
            , <&key_physical_attrs 100 100 1580  250 (-1000) 2080  375>
            , <&key_physical_attrs 100 100 1680  250 (-1000) 2080  375>
            , <&key_physical_attrs 100 100 1793  305       0    0    0>
            , <&key_physical_attrs 175 100 1893  305       0    0    0>
            , <&key_physical_attrs 225 100  272  405       0    0    0>
            , <&key_physical_attrs 100 100  497  405       0    0    0>
            , <&key_physical_attrs 100 100  625  350    1000  275  375>
            , <&key_physical_attrs 100 100  725  350    1000  275  375>
            , <&key_physical_attrs 100 100  825  350    1000  275  375>
            , <&key_physical_attrs 100 100  925  350    1000  275  375>
            , <&key_physical_attrs 100 100 1015  509       0    0    0>
            , <&key_physical_attrs 100 100 1240  509       0    0    0>
            , <&key_physical_attrs 100 100 1330  350 (-1000) 2080  375>
            , <&key_physical_attrs 100 100 1430  350 (-1000) 2080  375>
            , <&key_physical_attrs 100 100 1530  350 (-1000) 2080  375>
            , <&key_physical_attrs 100 100 1630  350 (-1000) 2080  375>
            , <&key_physical_attrs 100 100 1757  405       0    0    0>
            , <&key_physical_attrs 225 100 1857  405       0    0    0>
            , <&key_physical_attrs 100 100  297  505       0    0    0>
            , <&key_physical_attrs 100 100  397  505       0    0    0>
            , <&key_physical_attrs 100 100  498  505       0    0    0>
            , <&key_physical_attrs 125 100  650  450    1000  275  375>
            , <&key_physical_attrs 150 100   90  885 (-7500)  275  375>
            , <&key_physical_attrs 150 100   90  985 (-7500)  275  375>
            , <&key_physical_attrs 100 100  982  610       0    0    0>
            , <&key_physical_attrs 100 100 1273  610       0    0    0>
            , <&key_physical_attrs 150 100 1195  100    7500 1045  530>
            , <&key_physical_attrs 150 100 1195    0    7500 1045  530>
            , <&key_physical_attrs 125 100 1580  450 (-1000) 2080  375>
            , <&key_physical_attrs 100 100 1757  505       0    0    0>
            , <&key_physical_attrs 100 100 1857  505       0    0    0>
            , <&key_physical_attrs 100 100 1957  505       0    0    0>
            ;
    };

    position_map {
        compatible = "zmk,physical-layout-position-map";

        standard_all_map {
            physical-layout = <&standard_all_layout>;
            positions = <71 12 13 41 42 55 56>;
        };

        standard_full_backspace_map {
            physical-layout = <&standard_full_backspace_layout>;
            positions = <70 71 12 40 41 54 55>;
        };

        standard_full_lshift_map {
            physical-layout = <&standard_full_lshift_layout>;
            positions = <70 12 13 41 71 54 55>;
        };

        standard_full_rshift_map {
            physical-layout = <&standard_full_rshift_layout>;
            positions = <70 12 13 41 42 71 55>;
        };

        standard_full_backspace_full_lshift_map {
            physical-layout = <&standard_full_backspace_full_lshift_layout>;
            positions = <69 70 12 40 71 53 54>;
        };

        standard_full_backspace_full_rshift_map {
            physical-layout = <&standard_full_backspace_full_rshift_layout>;
            positions = <69 70 12 40 41 71 54>;
        };

        standard_full_backspace_full_lshift_full_rshift_map {
            physical-layout = <&standard_full_backspace_full_lshift_full_rshift_layout>;
            positions = <68 69 12 40 70 71 53>;
        };

        mirrored_all_map {
            physical-layout = <&mirrored_all_layout>;
            positions = <21 12 13 42 43 56 57>;
        };

        mirrored_full_backspace_map {
            physical-layout = <&mirrored_full_backspace_layout>;
            positions = <20 71 12 41 42 55 56>;
        };

        mirrored_full_lshift_map {
            physical-layout = <&mirrored_full_lshift_layout>;
            positions = <21 12 13 42 71 55 56>;
        };

        mirrored_full_rshift_map {
            physical-layout = <&mirrored_full_rshift_layout>;
            positions = <21 12 13 42 43 71 56>;
        };

        mirrored_full_backspace_full_lshift_map {
            physical-layout = <&mirrored_full_backspace_full_lshift_layout>;
            positions = <20 70 12 41 71 54 55>;
        };

        mirrored_full_backspace_full_rshift_map {
            physical-layout = <&mirrored_full_backspace_full_rshift_layout>;
            positions = <20 70 12 41 42 71 55>;
        };

        mirrored_full_backspace_full_lshift_full_rshift_map {
            physical-layout = <&mirrored_full_backspace_full_lshift_full_rshift_layout>;
            positions = <20 69 12 41 70 71 54>;
        };
    };
};
